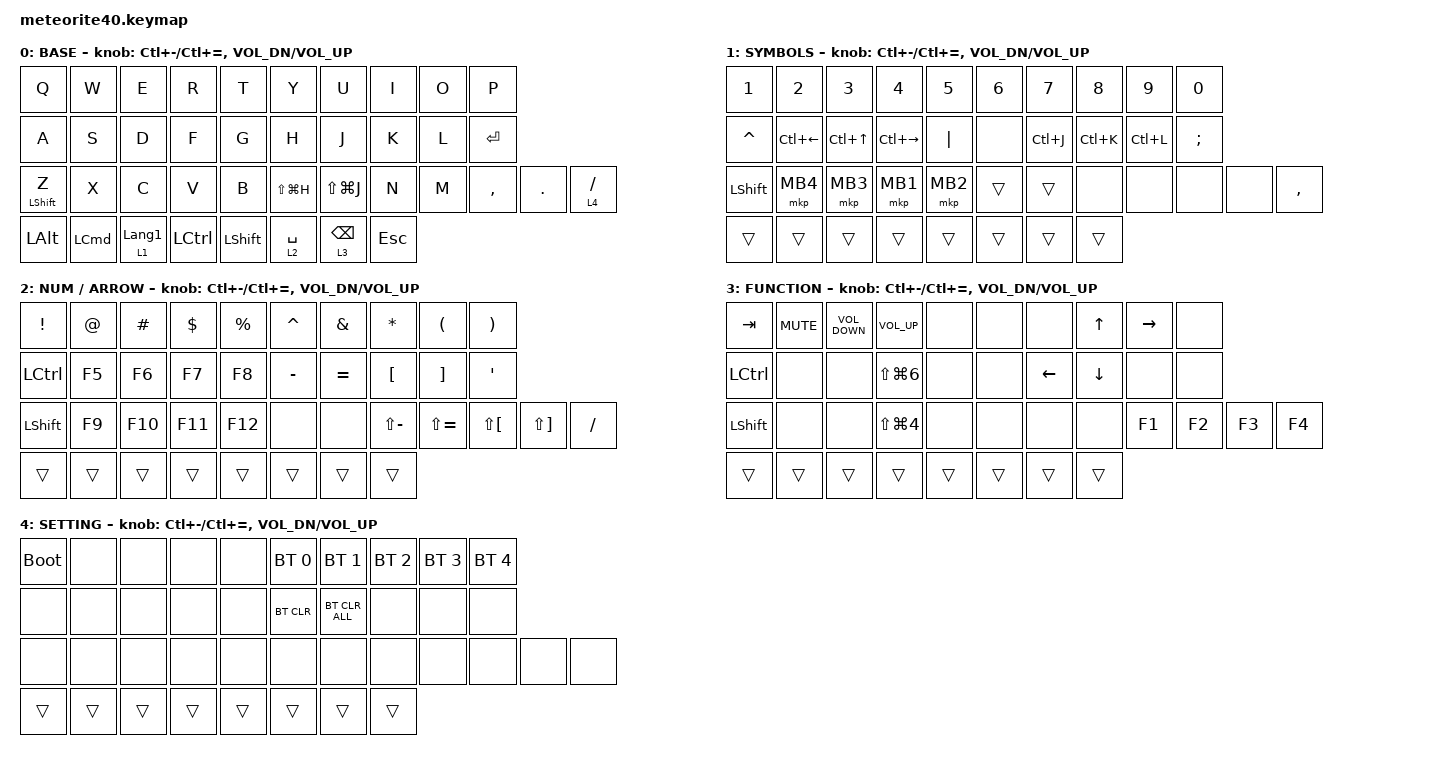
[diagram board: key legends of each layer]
#include <behaviors.dtsi>
#include <dt-bindings/zmk/bt.h>
#include <dt-bindings/zmk/keys.h>
#include <dt-bindings/zmk/pointing.h>

&mt {
    flavor = "tap-preferred"; // change hold to tap
    tapping-term-ms = <200>;
    quick-tap-ms = <150>; // change 200 to 150
};

&lt {
    flavor = "tap-preferred";
    tapping-term-ms = <150>; // change 200 to 150
    quick-tap-ms = <150>; // change 200 to 150
};

/ {
    combos {
        compatible = "zmk,combos";

        layer2 {
            bindings = <&mo 2>;
            key-positions = <12 13>; /* D + F */
            layers = <0>;
        };

        lang2 {
            bindings = <&kp LANG2>;
            key-positions = <16 17>; /* J + K */
            layers = <0>;
        };

        esc {
            bindings = <&kp ESCAPE>;
            key-positions = <20 21>; /* Z + X */
            layers = <0>;
        };

        tab {
            bindings = <&kp TAB>;
            key-positions = <0 1>; /* Q + W */
            layers = <0>;
        };

        home {
            bindings = <&kp HOME>;
            key-positions = <16 17>; /* J + K (on layer 2) */
            layers = <2>;
        };

        end {
            bindings = <&kp END>;
            key-positions = <18 19>; /* L + - (on layer 2) */
            layers = <2>;
        };

        ctrl_home {
            bindings = <&kp LC(HOME)>;
            key-positions = <16 18>; /* J + L (on layer 2) */
            layers = <2>;
        };

        ctrl_end {
            bindings = <&kp LC(END)>;
            key-positions = <17 19>; /* K + - (on layer 2) */
            layers = <2>;
        };

        screenshot4 {
            bindings = <&kp LS(LG(NUMBER_4))>;
            key-positions = <25 26>;
        };
    };

    keymap {
        compatible = "zmk,keymap";
        layout = &LAYOUT_2U_SPACE;

        win_default_layer {
            display-name = "BASE";
            bindings = <
&kp Q             &kp W             &kp E             &kp R             &kp T           &kp Y          &kp U            &kp I       &kp O  &kp P
&kp A             &kp S             &kp D             &kp F             &kp G           &kp H          &kp J            &kp K       &kp L  &kp ENTER
&mt LEFT_SHIFT Z  &kp X             &kp C             &kp V             &kp B           &kp LS(LG(H))  &kp LS(LG(J))    &kp N       &kp M  &kp COMMA  &kp DOT  &lt 4 SLASH
&kp LEFT_ALT      &kp LEFT_COMMAND  &lt 1 LANGUAGE_1  &kp LEFT_CONTROL  &kp LEFT_SHIFT  &lt 2 SPACE    &lt 3 BACKSPACE  &kp ESCAPE
            >;

            sensor-bindings =
                <&inc_dec_kp LC(MINUS) LC(EQUAL)>,
                // RE0: ctrl + - / +,,,,,,,,,,
                <&inc_dec_kp C_VOL_DN C_VOL_UP>;

            // RE1: volume down/up
        };

        layer_1 {
            display-name = "SYMBOLS";
            bindings = <
&kp NUMBER_1    &kp NUMBER_2  &kp NUMBER_3      &kp NUMBER_4   &kp N5    &kp NUMBER_6  &kp N7     &kp NUMBER_8  &kp NUMBER_9  &kp NUMBER_0
&kp CARET       &kp LC(LEFT)  &kp LC(UP_ARROW)  &kp LC(RIGHT)  &kp PIPE  &none         &kp LC(J)  &kp LC(K)     &kp LC(L)     &kp SEMICOLON
&kp LEFT_SHIFT  &mkp MB4      &mkp MB3          &mkp MB1       &mkp MB2  &trans        &trans     &none         &none         &none          &none  &kp COMMA
&trans          &trans        &trans            &trans         &trans    &trans        &trans     &trans
            >;

            sensor-bindings =
                <&inc_dec_kp LC(MINUS) LC(EQUAL)>,
                // RE0: ctrl + - / +,,,,,,,,,,
                <&inc_dec_kp C_VOL_DN C_VOL_UP>;

            // RE1: volume down/up
        };

        layer_2 {
            display-name = "NUM / ARROW";
            bindings = <
&kp EXCLAMATION   &kp AT_SIGN  &kp HASH  &kp DOLLAR  &kp PERCENT  &kp CARET  &kp AMPERSAND  &kp ASTERISK      &kp LEFT_PARENTHESIS  &kp RIGHT_PARENTHESIS
&kp LEFT_CONTROL  &kp F5       &kp F6    &kp F7      &kp F8       &kp MINUS  &kp EQUAL      &kp LEFT_BRACKET  &kp RIGHT_BRACKET     &kp SQT
&kp LEFT_SHIFT    &kp F9       &kp F10   &kp F11     &kp F12      &none      &none          &kp LS(MINUS)     &kp LS(EQUAL)         &kp LS(LEFT_BRACKET)   &kp LS(RIGHT_BRACKET)  &kp SLASH
&trans            &trans       &trans    &trans      &trans       &trans     &trans         &trans
            >;

            sensor-bindings =
                <&inc_dec_kp LC(MINUS) LC(EQUAL)>,
                // RE0: ctrl + - / +,,,,,,,,,,
                <&inc_dec_kp C_VOL_DN C_VOL_UP>;

            // RE1: volume down/up
        };

        layer_3 {
            display-name = "FUNCTION";
            bindings = <
&kp TAB           &kp C_MUTE  &kp C_VOLUME_DOWN  &kp C_VOLUME_UP       &none   &none   &none     &kp UP_ARROW    &kp RIGHT_ARROW  &none
&kp LEFT_CONTROL  &none       &none              &kp LS(LG(NUMBER_6))  &none   &none   &kp LEFT  &kp DOWN_ARROW  &none            &none
&kp LEFT_SHIFT    &none       &none              &kp LS(LG(NUMBER_4))  &none   &none   &none     &none           &kp F1           &kp F2  &kp F3  &kp F4
&trans            &trans      &trans             &trans                &trans  &trans  &trans    &trans
            >;

            sensor-bindings =
                <&inc_dec_kp LC(MINUS) LC(EQUAL)>,
                // RE0: ctrl + - / +,,,,,,,,,,
                <&inc_dec_kp C_VOL_DN C_VOL_UP>;

            // RE1: volume down/up
        };

        layer_4 {
            display-name = "SETTING";
            bindings = <
&bootloader  &none   &none   &none   &none   &bt BT_SEL 0  &bt BT_SEL 1    &bt BT_SEL 2  &bt BT_SEL 3  &bt BT_SEL 4
&none        &none   &none   &none   &none   &bt BT_CLR    &bt BT_CLR_ALL  &none         &none         &none
&none        &none   &none   &none   &none   &none         &none           &none         &none         &none         &none  &none
&trans       &trans  &trans  &trans  &trans  &trans        &trans          &trans
            >;

            sensor-bindings =
                <&inc_dec_kp LC(MINUS) LC(EQUAL)>,
                // RE0: ctrl + - / +,,,,,,,,,,
                <&inc_dec_kp C_VOL_DN C_VOL_UP>;

            // RE1: volume down/up
        };
    };
};
